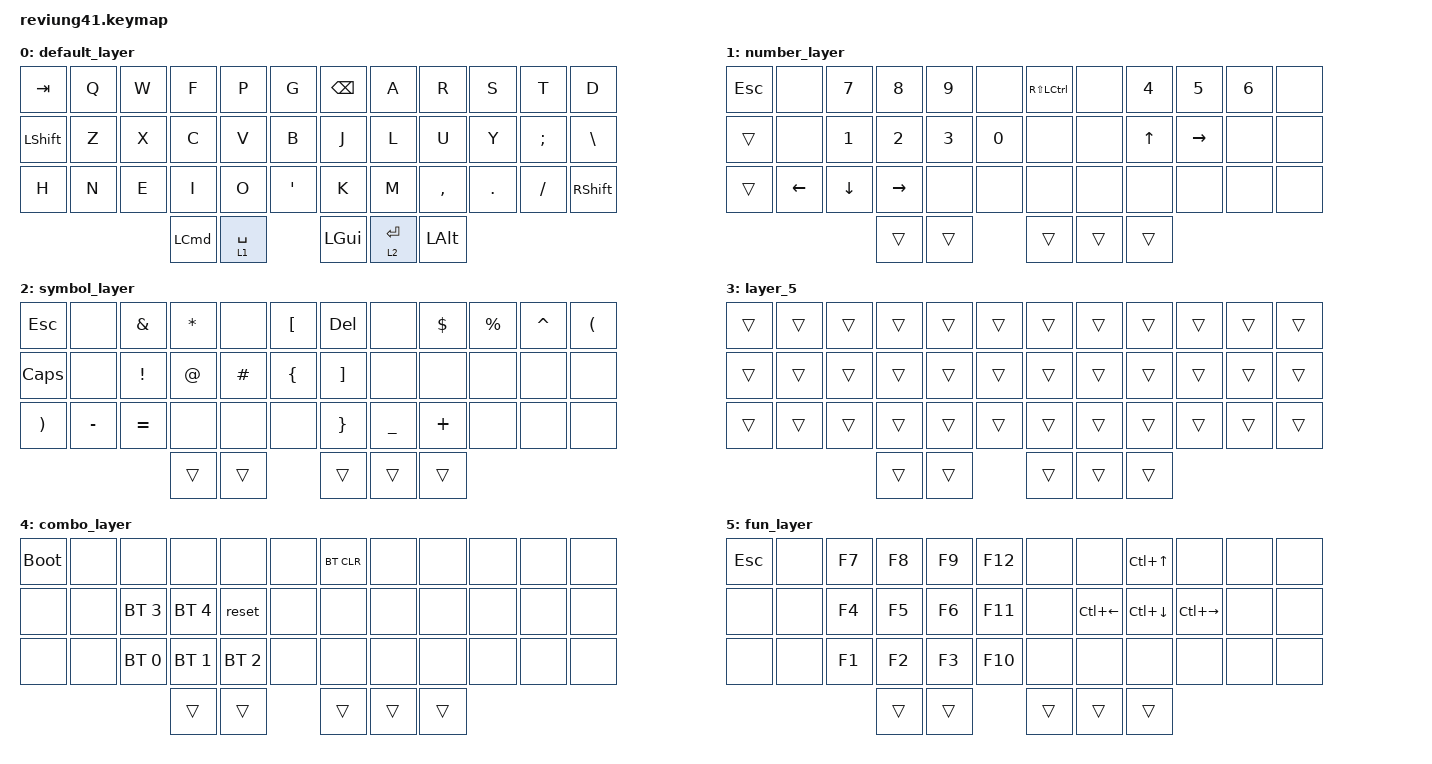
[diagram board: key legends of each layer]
/*
 * Copyright (c) 2020 The ZMK Contributors
 *
 * SPDX-License-Identifier: MIT
 */

#include <behaviors.dtsi>
#include <dt-bindings/zmk/bt.h>
#include <dt-bindings/zmk/keys.h>

#define _DEF 0
#define _NUM 1
#define _SYM 2
#define _COM 3
#define _FUN 4

&mt {
    tapping-term-ms = <200>;
    quick-tap-ms = <200>;
};

&lt {
    tapping-term-ms = <150>;
    quick-tap-ms = <0>;
};

/ {
    behaviors {
        td0: tap_dance_0 {
            compatible = "zmk,behavior-tap-dance";
            label = "LSHIFT_CAPS_WORD";
            #binding-cells = <0>;
            tapping-term-ms = <200>;
            bindings =
                <&kp LSHFT>,
                <&caps_word>;
        };
    };

    macros {
        m0: macro_0 {
            compatible = "zmk,behavior-macro";
            label = "KENOBI";
            #binding-cells = <0>;
            bindings =
                <&macro_press>,
                <&kp LSHFT>,
                <&macro_tap>,
                <&kp I>,
                <&macro_release>,
                <&kp LSHFT>;
        };
    };

    conditional_layers {
        compatible = "zmk,conditional-layers";

        tri_layer {
            if-layers = <1 2>;
            then-layer = <5>;
        };
    };

    keymap {
        compatible = "zmk,keymap";

        default_layer {
            bindings = <
&kp TAB         &kp Q  &kp W  &kp F             &kp P        &kp G                     &kp BACKSPACE  &kp A        &kp R         &kp S    &kp T          &kp D
&kp LEFT_SHIFT  &kp Z  &kp X  &kp C             &kp V        &kp B                     &kp J          &kp L        &kp U         &kp Y    &kp SEMICOLON  &kp BACKSLASH
&kp H           &kp N  &kp E  &kp I             &kp O        &kp APOSTROPHE            &kp K          &kp M        &kp COMMA     &kp DOT  &kp FSLH       &kp RSHIFT
                              &kp LEFT_COMMAND  &lt 1 SPACE                  &kp LGUI                 &lt 2 ENTER  &kp LEFT_ALT
            >;
        };

        number_layer {
            bindings = <
&kp ESCAPE  &none     &kp N7        &kp N8        &kp N9        &none                 &kp RS(LEFT_CONTROL)  &none   &kp NUMBER_4  &kp NUMBER_5  &kp NUMBER_6  &none
&trans      &none     &kp NUMBER_1  &kp NUMBER_2  &kp NUMBER_3  &kp NUMBER_0          &none                 &none   &kp UP_ARROW  &kp RIGHT     &none         &none
&trans      &kp LEFT  &kp DOWN      &kp RIGHT     &none         &none                 &none                 &none   &none         &none         &none         &none
                                    &trans        &trans                      &trans                        &trans  &trans
            >;
        };

        symbol_layer {
            bindings = <
&kp ESCAPE             &none      &kp AMPERSAND    &kp ASTERISK  &none      &kp LEFT_BRACKET          &kp DELETE         &none      &kp DOLLAR  &kp PERCENT  &kp CARET  &kp LEFT_PARENTHESIS
&kp CAPSLOCK           &none      &kp EXCLAMATION  &kp AT_SIGN   &kp POUND  &kp LEFT_BRACE            &kp RIGHT_BRACKET  &none      &none       &none        &none      &none
&kp RIGHT_PARENTHESIS  &kp MINUS  &kp EQUAL        &none         &none      &none                     &kp RIGHT_BRACE    &kp UNDER  &kp PLUS    &none        &none      &none
                                                   &trans        &trans                       &trans                     &trans     &trans
            >;
        };

        layer_5 {
            bindings = <
&trans  &trans  &trans  &trans  &trans  &trans          &trans  &trans  &trans  &trans  &trans  &trans
&trans  &trans  &trans  &trans  &trans  &trans          &trans  &trans  &trans  &trans  &trans  &trans
&trans  &trans  &trans  &trans  &trans  &trans          &trans  &trans  &trans  &trans  &trans  &trans
                        &trans  &trans          &trans          &trans  &trans
            >;
        };

        combo_layer {
            bindings = <
&bootloader  &none  &none         &none         &none         &none          &bt BT_CLR  &none   &none   &none  &none  &none
&none        &none  &bt BT_SEL 3  &bt BT_SEL 4  &reset        &none          &none       &none   &none   &none  &none  &none
&none        &none  &bt BT_SEL 0  &bt BT_SEL 1  &bt BT_SEL 2  &none          &none       &none   &none   &none  &none  &none
                                  &trans        &trans               &trans              &trans  &trans
            >;
        };

        fun_layer {
            bindings = <
&kp ESC  &none  &kp F7  &kp F8  &kp F9  &kp F12          &none  &none         &kp LC(UP)    &none          &none  &none
&none    &none  &kp F4  &kp F5  &kp F6  &kp F11          &none  &kp LC(LEFT)  &kp LC(DOWN)  &kp LC(RIGHT)  &none  &none
&none    &none  &kp F1  &kp F2  &kp F3  &kp F10          &none  &none         &none         &none          &none  &none
                        &trans  &trans           &trans         &trans        &trans
            >;
        };
    };
};
